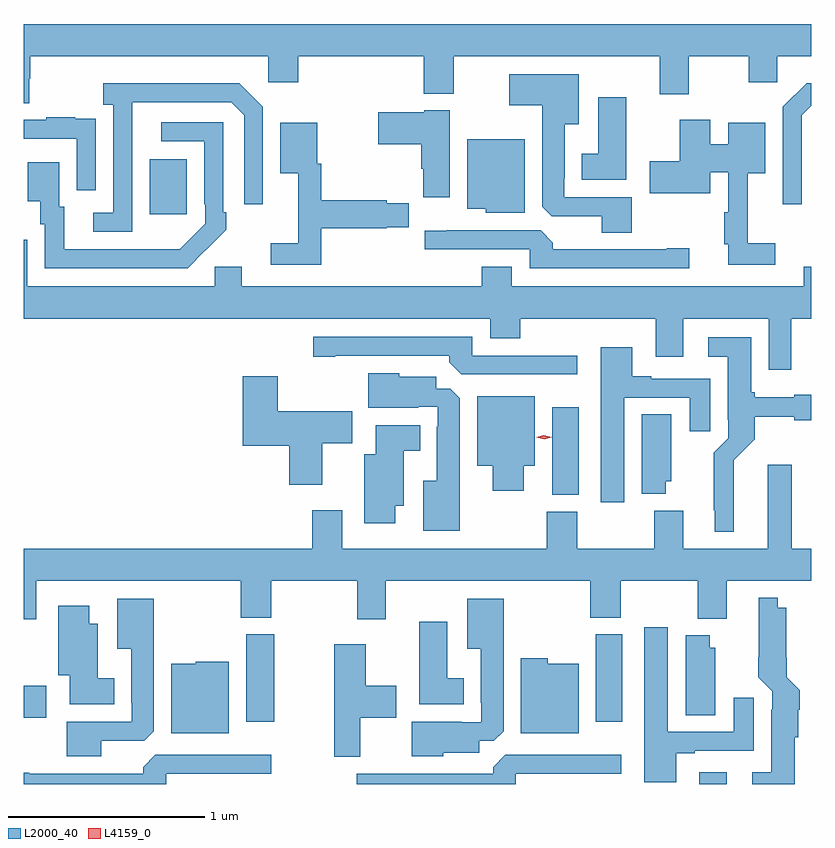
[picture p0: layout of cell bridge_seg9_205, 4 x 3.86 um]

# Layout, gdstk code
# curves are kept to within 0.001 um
import gdstk
lib = gdstk.Library(unit=1e-6, precision=1e-09)
def R(c, l, rs):  # rectangles x0, y0, x1, y1
    for r in rs: c.add(gdstk.rectangle(r[:2], r[2:], *l))
def P(c, l, *ps):  # polygons
    for p in ps: c.add(gdstk.Polygon(p, *l))
L2000_40 = (2000, 40)
L4159_0 = (4159, 0)

bridge_seg9_205 = lib.new_cell('bridge_seg9_205')
R(bridge_seg9_205, L2000_40, [(168.761,1211.372,168.901,1211.431), (166.46,1211.688,166.602,1212.132), (168.236,1211.688,168.37,1212.132), (165.33,1211.708,165.445,1211.871), (168.014,1212.841,168.148,1213.285), (165.971,1214.265,166.159,1214.545)])
P(bridge_seg9_205, L2000_40, [(165.357,1214.955),(165.362,1214.955),(165.362,1215.068),(166.572,1215.068),(166.572,1214.937),(166.724,1214.937),(166.724,1215.068),(167.363,1215.068),(167.363,1214.879),(167.515,1214.879),(167.515,1215.068),(168.56,1215.068),(168.56,1214.874),(168.708,1214.874),(168.708,1215.068),(169.012,1215.068),(169.012,1214.937),(169.158,1214.937),(169.158,1215.068),(169.33,1215.068),(169.33,1215.232),(165.33,1215.232),(165.33,1214.83),(165.357,1214.83)],
  [(168.419,1214.352),(168.075,1214.352),(168.075,1214.449),(168.079,1214.449),(168.079,1214.723),(168.148,1214.723),(168.148,1214.977),(167.796,1214.977),(167.796,1214.819),(167.963,1214.819),(167.963,1214.305),(168.012,1214.256),(168.266,1214.256),(168.266,1214.173),(168.419,1214.173)],
  [(169.281,1214.769),(169.33,1214.818),(169.33,1214.932),(169.306,1214.932),(169.185,1214.811),(169.185,1214.316),(169.281,1214.316)],
  [(165.882,1214.835),(166.383,1214.835),(166.449,1214.769),(166.449,1214.316),(166.545,1214.316),(166.545,1214.811),(166.424,1214.932),(165.735,1214.932),(165.735,1214.822),(165.786,1214.822),(165.786,1214.274),(165.684,1214.274),(165.684,1214.178),(165.882,1214.178)],
  [(168.391,1214.86),(168.248,1214.86),(168.248,1214.572),(168.164,1214.572),(168.164,1214.441),(168.391,1214.441)],
  [(167.494,1214.794),(167.364,1214.794),(167.364,1214.785),(167.13,1214.785),(167.13,1214.62),(167.348,1214.62),(167.348,1214.498),(167.36,1214.498),(167.36,1214.353),(167.494,1214.353)],
  [(165.696,1214.642),(165.695,1214.642),(165.695,1214.751),(165.593,1214.751),(165.593,1214.758),(165.445,1214.758),(165.445,1214.745),(165.33,1214.745),(165.33,1214.649),(165.6,1214.649),(165.6,1214.388),(165.696,1214.388)],
  [(169.147,1214.119),(169.007,1214.119),(169.007,1214.474),(169.096,1214.474),(169.096,1214.731),(168.908,1214.731),(168.908,1214.622),(168.817,1214.622),(168.817,1214.746),(168.662,1214.746),(168.662,1214.535),(168.51,1214.535),(168.51,1214.372),(168.817,1214.372),(168.817,1214.48),(168.909,1214.48),(168.909,1214.276),(168.889,1214.276),(168.889,1214.113),(168.908,1214.113),(168.908,1214.01),(169.147,1214.01)],
  [(166.253,1214.083),(166.254,1214.082),(166.359,1214.187),(166.359,1214.275),(166.344,1214.275),(166.344,1214.733),(166.029,1214.733),(166.029,1214.637),(166.248,1214.637),(166.248,1214.317),(166.251,1214.317),(166.251,1214.217),(166.123,1214.089),(165.535,1214.088),(165.535,1214.304),(165.511,1214.304),(165.511,1214.53),(165.35,1214.53),(165.35,1214.333),(165.413,1214.333),(165.413,1214.214),(165.438,1214.214),(165.438,1213.992),(166.162,1213.992)],
  [(166.841,1214.194),(167.174,1214.194),(167.174,1214.2),(167.285,1214.2),(167.285,1214.322),(167.174,1214.322),(167.174,1214.336),(166.841,1214.336),(166.841,1214.523),(166.822,1214.523),(166.822,1214.731),(166.634,1214.731),(166.634,1214.474),(166.724,1214.474),(166.724,1214.119),(166.584,1214.119),(166.584,1214.01),(166.841,1214.01)],
  [(167.875,1214.647),(167.582,1214.647),(167.582,1214.294),(167.676,1214.294),(167.676,1214.273),(167.875,1214.273)],
  [(168.709,1214.093),(168.596,1214.093),(168.596,1214.088),(168.017,1214.088),(168.017,1214.122),(167.955,1214.184),(167.368,1214.183),(167.368,1214.088),(167.901,1214.088),(167.901,1213.992),(168.709,1213.992)],
  [(169.229,1213.736),(169.33,1213.736),(169.33,1213.998),(169.292,1213.998),(169.292,1213.9),(167.809,1213.9),(167.809,1213.999),(167.657,1213.999),(167.657,1213.9),(166.438,1213.9),(166.438,1213.998),(166.299,1213.998),(166.299,1213.9),(165.349,1213.9),(165.349,1214.136),(165.33,1214.136),(165.33,1213.736),(167.699,1213.736),(167.699,1213.637),(167.852,1213.637),(167.852,1213.736),(168.539,1213.736),(168.539,1213.542),(168.679,1213.542),(168.679,1213.736),(169.113,1213.736),(169.113,1213.476),(169.229,1213.476)],
  [(168.142,1213.548),(167.607,1213.548),(167.607,1213.644),(166.8,1213.644),(166.8,1213.543),(166.912,1213.543),(166.912,1213.548),(167.492,1213.548),(167.492,1213.514),(167.553,1213.452),(168.142,1213.452)],
  [(168.937,1213.016),(169.042,1213.122),(169.042,1213.237),(169.244,1213.237),(169.244,1213.219),(169.33,1213.219),(169.33,1213.348),(169.244,1213.348),(169.244,1213.336),(169.042,1213.336),(169.042,1213.362),(169.024,1213.362),(169.024,1213.642),(168.807,1213.642),(168.807,1213.541),(168.905,1213.541),(168.905,1213.222),(168.909,1213.222),(168.909,1213.128),(168.835,1213.054),(168.835,1212.763),(168.839,1212.763),(168.839,1212.653),(168.937,1212.653)],
  [(168.379,1213.335),(168.713,1213.335),(168.713,1213.164),(168.817,1213.164),(168.817,1213.431),(168.517,1213.431),(168.517,1213.444),(168.421,1213.444),(168.421,1213.591),(168.26,1213.591),(168.26,1212.804),(168.379,1212.804)],
  [(167.545,1213.331),(167.496,1213.38),(167.425,1213.38),(167.425,1213.441),(167.238,1213.441),(167.238,1213.459),(167.081,1213.459),(167.081,1213.283),(167.333,1213.283),(167.333,1213.287),(167.433,1213.287),(167.433,1213.187),(167.429,1213.187),(167.429,1212.913),(167.36,1212.913),(167.36,1212.659),(167.545,1212.659)],
  [(166.846,1213.102),(166.999,1213.102),(166.999,1213.264),(166.62,1213.264),(166.62,1213.444),(166.442,1213.444),(166.442,1213.091),(166.679,1213.091),(166.679,1212.891),(166.846,1212.891)],
  [(167.869,1212.989),(167.926,1212.989),(167.926,1213.342),(167.633,1213.342),(167.633,1212.989),(167.711,1212.989),(167.711,1212.861),(167.869,1212.861)],
  [(168.592,1212.909),(168.619,1212.909),(168.619,1213.25),(168.47,1213.25),(168.47,1212.845),(168.592,1212.845)],
  [(167.218,1212.785),(167.26,1212.785),(167.26,1213.064),(167.344,1213.064),(167.344,1213.195),(167.117,1213.195),(167.117,1213.048),(167.06,1213.048),(167.06,1212.696),(167.218,1212.696)],
  [(165.394,1212.404),(166.432,1212.404),(166.432,1212.217),(166.587,1212.217),(166.587,1212.404),(167.023,1212.404),(167.023,1212.21),(167.17,1212.21),(167.17,1212.404),(168.208,1212.404),(168.208,1212.217),(168.363,1212.217),(168.363,1212.404),(168.754,1212.404),(168.754,1212.212),(168.901,1212.212),(168.901,1212.404),(169.33,1212.404),(169.33,1212.568),(169.232,1212.568),(169.232,1212.994),(169.109,1212.994),(169.109,1212.568),(168.679,1212.568),(168.679,1212.76),(168.532,1212.76),(168.532,1212.568),(168.141,1212.568),(168.141,1212.756),(167.986,1212.756),(167.986,1212.568),(166.948,1212.568),(166.948,1212.763),(166.796,1212.763),(166.796,1212.568),(165.33,1212.568),(165.33,1212.21),(165.394,1212.21)],
  [(169.246,1211.61),(169.264,1211.61),(169.264,1211.75),(169.272,1211.75),(169.272,1211.847),(169.205,1211.914),(169.204,1212.268),(169.159,1212.268),(169.159,1212.319),(169.062,1212.319),(169.061,1211.914),(169.131,1211.844),(169.131,1211.75),(169.127,1211.75),(169.127,1211.431),(169.029,1211.431),(169.029,1211.372),(169.246,1211.372)],
  [(167.46,1211.531),(167.644,1211.531),(167.644,1211.592),(167.718,1211.592),(167.767,1211.641),(167.767,1212.313),(167.582,1212.313),(167.582,1212.059),(167.651,1212.059),(167.651,1211.785),(167.655,1211.785),(167.655,1211.685),(167.555,1211.685),(167.555,1211.689),(167.3,1211.689),(167.3,1211.513),(167.46,1211.513)],
  [(165.724,1211.592),(165.942,1211.592),(165.991,1211.641),(165.991,1212.313),(165.806,1212.313),(165.806,1212.059),(165.875,1212.059),(165.875,1211.785),(165.879,1211.785),(165.879,1211.688),(165.548,1211.688),(165.548,1211.513),(165.724,1211.513)],
  [(165.79,1211.908),(165.706,1211.908),(165.706,1212.187),(165.664,1212.187),(165.664,1212.277),(165.506,1212.277),(165.506,1211.924),(165.563,1211.924),(165.563,1211.777),(165.79,1211.777)],
  [(167.566,1211.908),(167.482,1211.908),(167.482,1212.196),(167.339,1212.196),(167.339,1211.777),(167.566,1211.777)],
  [(168.643,1211.529),(168.739,1211.529),(168.739,1211.541),(169.039,1211.541),(169.039,1211.809),(168.935,1211.809),(168.935,1211.637),(168.601,1211.637),(168.601,1212.169),(168.482,1212.169),(168.482,1211.382),(168.643,1211.382)],
  [(168.841,1212.063),(168.814,1212.063),(168.814,1212.127),(168.692,1212.127),(168.692,1211.722),(168.841,1211.722)],
  [(167.038,1211.708),(167.221,1211.708),(167.221,1211.871),(167.068,1211.871),(167.068,1212.082),(166.906,1212.082),(166.906,1211.511),(167.038,1211.511)],
  [(168.148,1211.983),(167.991,1211.983),(167.991,1212.01),(167.855,1212.01),(167.855,1211.63),(168.148,1211.63)],
  [(166.372,1211.992),(166.203,1211.992),(166.203,1211.983),(166.079,1211.983),(166.079,1211.63),(166.372,1211.63)],
  [(167.829,1211.424),(168.364,1211.424),(168.364,1211.52),(167.775,1211.52),(167.714,1211.458),(167.714,1211.424),(167.022,1211.424),(167.022,1211.372),(167.829,1211.372)],
  [(166.053,1211.424),(166.588,1211.424),(166.588,1211.52),(165.999,1211.52),(165.938,1211.458),(165.938,1211.424),(165.358,1211.424),(165.358,1211.429),(165.33,1211.429),(165.33,1211.372),(166.053,1211.372)])
P(bridge_seg9_205, L4159_0, [(167.973,1213.123),(167.933,1213.132),(167.933,1213.132),(167.933,1213.133),(167.972,1213.143),(168.012,1213.134),(168.012,1213.134),(168.012,1213.133)])

lib.write_gds('bridge_seg9_205.gds')
